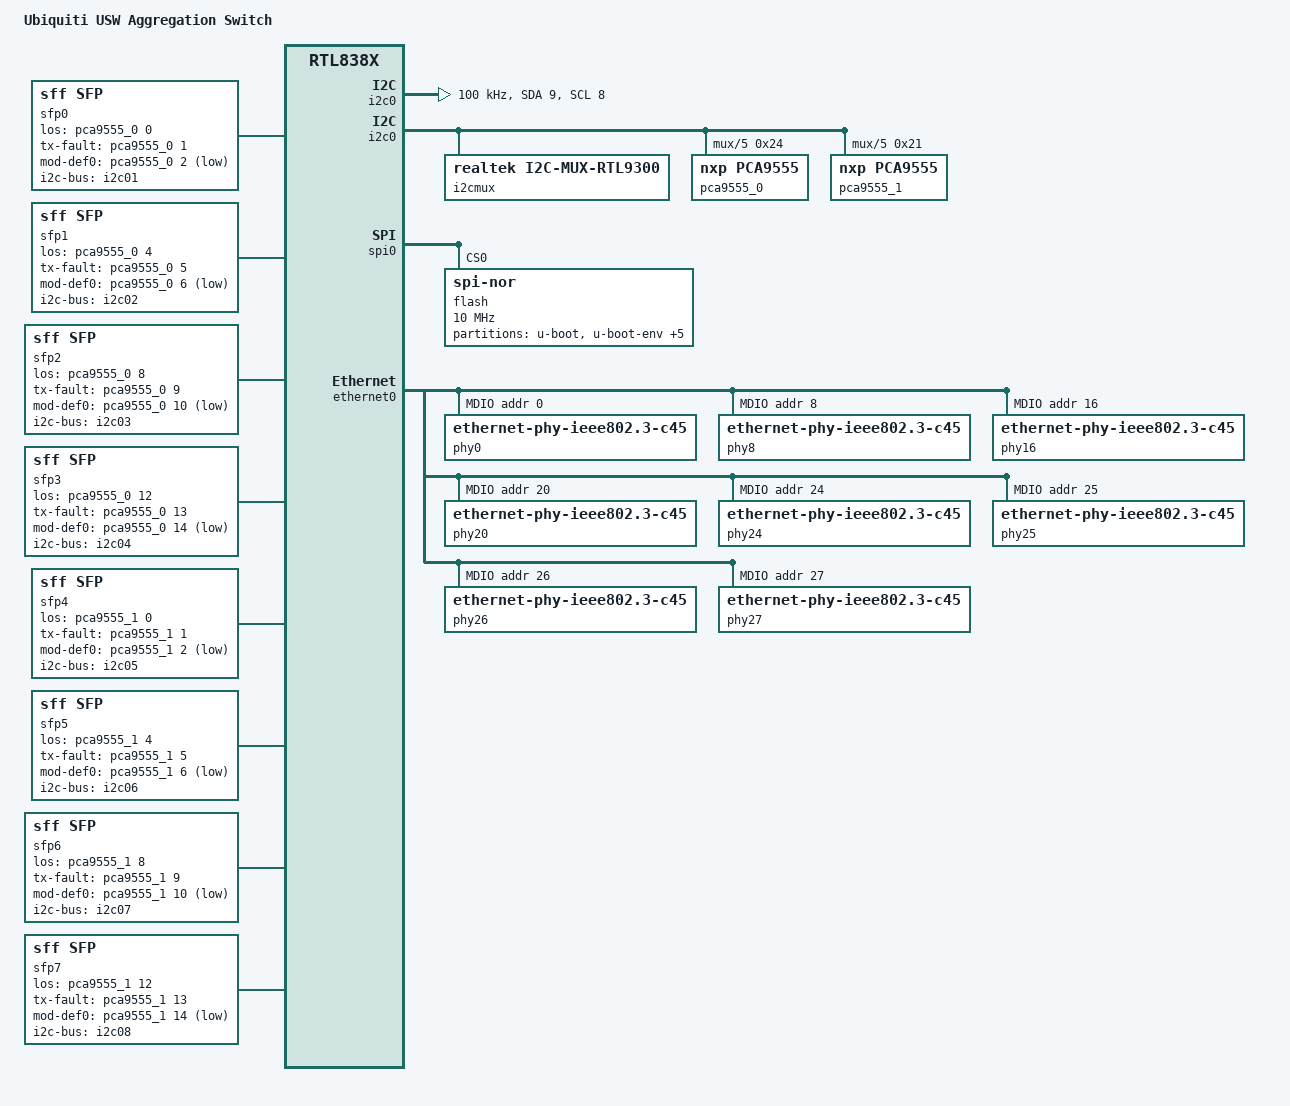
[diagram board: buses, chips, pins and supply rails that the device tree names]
// SPDX-License-Identifier: GPL-2.0-or-later
/dts-v1/;

#include "rtl930x.dtsi"

#include <dt-bindings/input/input.h>
#include <dt-bindings/gpio/gpio.h>

/ {
	compatible = "ubiquiti,usw-aggregation", "realtek,rtl838x-soc";
	model = "Ubiquiti USW Aggregation Switch";

	// mw.l 0xb8003308 0x00200000 active low toggles PHY reset
	chosen {
		bootargs = "console=ttyS0,115200";
	};

	led_set: led_set@0 {
		compatible = "realtek,rtl9300-leds";
		led_set0 = <0x0000 0xffff 0x0a01 0x0ba0>; // LED set 0: 10G/1G
	};

	i2c0: i2c-rtl9300 {
		compatible = "realtek,rtl9300-i2c";
		reg = <0x1b00036c 0x3c>;
		#address-cells = <1>;
		#size-cells = <0>;
		sda-pin = <9>;
		scl-pin = <8>;
		clock-frequency = <100000>;
	};

	i2cmux {
		compatible = "realtek,i2c-mux-rtl9300";
		#address-cells = <1>;
		#size-cells = <0>;
		i2c-parent = <&i2c0>;

		i2c01: i2c-rtl9300-1 {
			reg = <1>;
			#address-cells = <1>;
			#size-cells = <0>;
			sda-pin = <9>;
			scl-pin = <8>;
		};

		i2c02: i2c-rtl9300-2 {
			reg = <2>;
			#address-cells = <1>;
			#size-cells = <0>;
			sda-pin = <10>;
			scl-pin = <8>;
		};

		i2c03: i2c-rtl9300-3 {
			reg = <3>;
			#address-cells = <1>;
			#size-cells = <0>;
			sda-pin = <11>;
			scl-pin = <8>;
		};
		
		i2c04: i2c-rtl9300-4 {
			reg = <4>;
			#address-cells = <1>;
			#size-cells = <0>;
			sda-pin = <12>;
			scl-pin = <8>;
		};

		i2c05: i2c-rtl9300-5 {
			reg = <5>;
			#address-cells = <1>;
			#size-cells = <0>;
			sda-pin = <13>;
			scl-pin = <8>;

			pca9555_0: i2c@0524 {
				compatible = "nxp,pca9555";
				reg = <0x24>;
				gpio-controller;
				#gpio-cells = <2>;
			};

			pca9555_1: i2c@0521 {
				compatible = "nxp,pca9555";
				reg = <0x21>;
				gpio-controller;
				#gpio-cells = <2>;
			};

		};

		i2c06: i2c-rtl9300-6 {
			reg = <6>;
			#address-cells = <1>;
			#size-cells = <0>;
			sda-pin = <14>;
			scl-pin = <8>;
		};

		i2c07: i2c-rtl9300-7 {
			reg = <7>;
			#address-cells = <1>;
			#size-cells = <0>;
			sda-pin = <15>;
			scl-pin = <8>;
		};
	
		i2c08: i2c-rtl9300-8 {
			reg = <8>;
			#address-cells = <1>;
			#size-cells = <0>;
			sda-pin = <16>;
			scl-pin = <8>;
		};
	};

	sfp0: sfp-p1 {
		compatible = "sff,sfp";
		i2c-bus = <&i2c01>;
		los-gpio = <&pca9555_0 0 GPIO_ACTIVE_HIGH>;
		tx-fault-gpio = <&pca9555_0 1 GPIO_ACTIVE_HIGH>;
		mod-def0-gpio = <&pca9555_0 2 GPIO_ACTIVE_LOW>;
	};
	sfp1: sfp-p2 {
		compatible = "sff,sfp";
		i2c-bus = <&i2c02>;
		los-gpio = <&pca9555_0 4 GPIO_ACTIVE_HIGH>;
		tx-fault-gpio = <&pca9555_0 5 GPIO_ACTIVE_HIGH>;
		mod-def0-gpio = <&pca9555_0 6 GPIO_ACTIVE_LOW>;
	};
	sfp2: sfp-p3 {
		compatible = "sff,sfp";
		i2c-bus = <&i2c03>;
		los-gpio = <&pca9555_0 8 GPIO_ACTIVE_HIGH>;
		tx-fault-gpio = <&pca9555_0 9 GPIO_ACTIVE_HIGH>;
		mod-def0-gpio = <&pca9555_0 10 GPIO_ACTIVE_LOW>;
	};
	sfp3: sfp-p4 {
		compatible = "sff,sfp";
		i2c-bus = <&i2c04>;
		los-gpio = <&pca9555_0 12 GPIO_ACTIVE_HIGH>;
		tx-fault-gpio = <&pca9555_0 13 GPIO_ACTIVE_HIGH>;
		mod-def0-gpio = <&pca9555_0 14 GPIO_ACTIVE_LOW>;
	};
	sfp4: sfp-p5 {
		compatible = "sff,sfp";
		i2c-bus = <&i2c05>;
		los-gpio = <&pca9555_1 0 GPIO_ACTIVE_HIGH>;
		tx-fault-gpio = <&pca9555_1 1 GPIO_ACTIVE_HIGH>;
		mod-def0-gpio = <&pca9555_1 2 GPIO_ACTIVE_LOW>;
	};
	sfp5: sfp-p6 {
		compatible = "sff,sfp";
		i2c-bus = <&i2c06>;
		los-gpio = <&pca9555_1 4 GPIO_ACTIVE_HIGH>;
		tx-fault-gpio = <&pca9555_1 5 GPIO_ACTIVE_HIGH>;
		mod-def0-gpio = <&pca9555_1 6 GPIO_ACTIVE_LOW>;
	};
	sfp6: sfp-p7 {
		compatible = "sff,sfp";
		i2c-bus = <&i2c07>;
		los-gpio = <&pca9555_1 8 GPIO_ACTIVE_HIGH>;
		tx-fault-gpio = <&pca9555_1 9 GPIO_ACTIVE_HIGH>;
		mod-def0-gpio = <&pca9555_1 10 GPIO_ACTIVE_LOW>;
	};
	sfp7: sfp-p8 {
		compatible = "sff,sfp";
		i2c-bus = <&i2c08>;
		los-gpio = <&pca9555_1 12 GPIO_ACTIVE_HIGH>;
		tx-fault-gpio = <&pca9555_1 13 GPIO_ACTIVE_HIGH>;
		mod-def0-gpio = <&pca9555_1 14 GPIO_ACTIVE_LOW>;
	};
};

&spi0 {
	status = "okay";
	flash@0 {
		compatible = "jedec,spi-nor";
		reg = <0>;
		spi-max-frequency = <10000000>;

		partitions {
			compatible = "fixed-partitions";
			#address-cells = <1>;
			#size-cells = <1>;

			partition@0 {
				label = "u-boot";
				reg = <0x0 0x80000>;
				read-only;
			};
			partition@80000 {
				label = "u-boot-env";
				reg = <0x80000 0x10000>;
				read-only;
			};
			partition@90000 {
				label = "u-boot-env2";
				reg = <0x90000 0x10000>;
				read-only;
			};
			partition@a0000 {
				label = "jffs";
				reg = <0xa0000 0x100000>;
			};
			partition@1a0000 {
				label = "jffs2";
				reg = <0x1a0000 0x100000>;
			};
			partition@2a0000 {
				label = "firmware";
				reg = <0x2a0000 0xd50000>;
				compatible = "denx,uimage";
			};
			partition@ff0000 {
				label = "EEPROM";
				reg = <0xff0000 0x10000>;
			};
		};
	};
};

&ethernet0 {
	mdio: mdio-bus {
		compatible = "realtek,rtl838x-mdio";
		regmap = <&ethernet0>;
		#address-cells = <1>;
		#size-cells = <0>;

		/* Internal phy for SFP+ ports */
		phy0: ethernet-phy@0 {
			reg = <0>;
			compatible = "ethernet-phy-ieee802.3-c45";
			phy-is-integrated;
			rtl9300,smi-address = <3 0>;
			sds = < 2 >;
		};
		phy8: ethernet-phy@8 {
			reg = <8>;
			compatible = "ethernet-phy-ieee802.3-c45";
			phy-is-integrated;
			rtl9300,smi-address = <3 8>;
			sds = < 3 >;
		};
		phy16: ethernet-phy@16 {
			reg = <16>;
			compatible = "ethernet-phy-ieee802.3-c45";
			phy-is-integrated;
			rtl9300,smi-address = <3 16>;
			sds = < 4 >;
		};
		phy20: ethernet-phy@20 {
			reg = <20>;
			compatible = "ethernet-phy-ieee802.3-c45";
			phy-is-integrated;
			rtl9300,smi-address = <3 20>;
			sds = < 5 >;
		};
		phy24: ethernet-phy@24 {
			reg = <24>;
			compatible = "ethernet-phy-ieee802.3-c45";
			phy-is-integrated;
			rtl9300,smi-address = <3 24>;
			sds = < 6 >;
		};
		phy25: ethernet-phy@25 {
			reg = <25>;
			compatible = "ethernet-phy-ieee802.3-c45";
			phy-is-integrated;
			rtl9300,smi-address = <3 25>;
			sds = < 7 >;
		};
		phy26: ethernet-phy@26 {
			reg = <26>;
			compatible = "ethernet-phy-ieee802.3-c45";
			phy-is-integrated;
			rtl9300,smi-address = <3 26>;
			sds = < 8 >;
		};
		phy27: ethernet-phy@27 {
			reg = <27>;
			compatible = "ethernet-phy-ieee802.3-c45";
			phy-is-integrated;
			rtl9300,smi-address = <3 27>;
			sds = < 9 >;
		};
	};
};

&switch0 {
	ports {
		#address-cells = <1>;
		#size-cells = <0>;

		port@20 {
			reg = <20>;
			label = "lan1";
			phy-mode = "1000base-x";
			phy-handle = <&phy20>;
			led-set = <0>;
			sfp = <&sfp0>;
			managed = "in-band-status";
		};

		port@16 {
			reg = <16>;
			label = "lan2";
			phy-mode = "1000base-x";
			phy-handle = <&phy16>;
			led-set = <0>;
			sfp = <&sfp1>;
			managed = "in-band-status";
		};

		port@25 {
			reg = <25>;
			label = "lan3";
			phy-mode = "1000base-x";
			phy-handle = <&phy25>;
			led-set = <0>;
			sfp = <&sfp2>;
			managed = "in-band-status";
		};

		port@24 {
			reg = <24>;
			label = "lan4";
			phy-mode = "1000base-x";
			phy-handle = <&phy24>;
			led-set = <0>;
			sfp = <&sfp3>;
			managed = "in-band-status";
		};

		port@27 {
			reg = <27>;
			label = "lan5";
			phy-mode = "1000base-x";
			phy-handle = <&phy27>;
			led-set = <0>;
			sfp = <&sfp4>;
			managed = "in-band-status";
		};

		port@26 {
			reg = <26>;
			label = "lan6";
			phy-mode = "1000base-x";
			phy-handle = <&phy26>;
			led-set = <0>;
			sfp = <&sfp5>;
			managed = "in-band-status";
		};

		port@8 {
			reg = <8>;
			label = "lan7";
			phy-mode = "1000base-x";
			phy-handle = <&phy8>;
			led-set = <0>;
			sfp = <&sfp6>;
			managed = "in-band-status";
		};

		port@0 {
			reg = <0>;
			label = "lan8";
			phy-mode = "1000base-x";
			phy-handle = <&phy0>;
			led-set = <0>;
			sfp = <&sfp7>;
			managed = "in-band-status";
		};

		port@28 {
			ethernet = <&ethernet0>;
			reg = <28>;
			phy-mode = "internal";
			fixed-link {
				speed = <10000>;
				full-duplex;
			};
		};
	};
};
